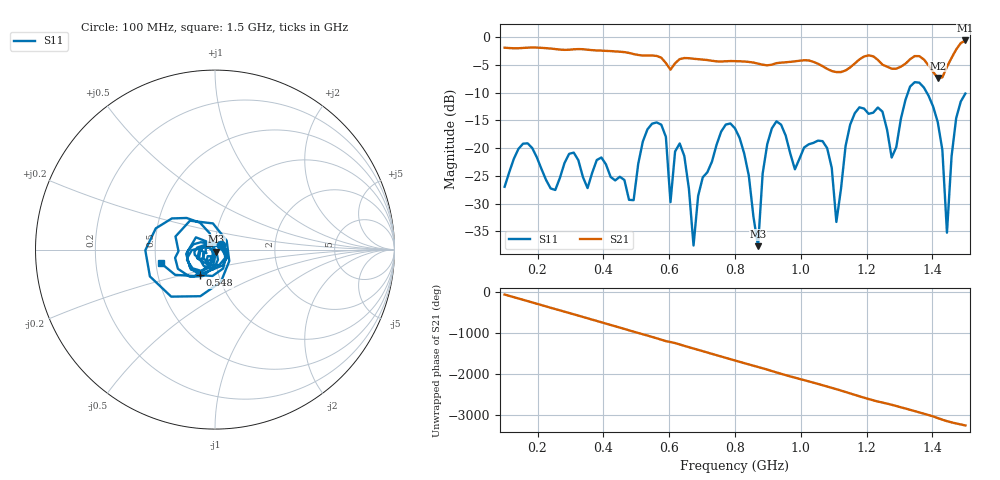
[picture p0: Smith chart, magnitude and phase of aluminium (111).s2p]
! NanoVNA-App
! Date: 2025-09-26 09:58:55
! Start: 100MHz Stop: 1,5GHz Points: 101
! S-Parameter data: F S11 S21 S12 S22
# Hz S RI R 50
!  Frequency  S11_Real  S11_Imag  S21_Real  S21_Imag  S12_Real  S12_Imag  S22_Real  S22_Imag
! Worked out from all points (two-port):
!   101 points, 100 MHz to 1.5 GHz, reference 50 ohm
!   highest |S21| = -0.61 dB at 1.5 GHz (marker M1); lowest = -7.4 dB at 1.416 GHz (marker M2)
!   |S21| within 3 dB of the highest: start of sweep to 571.3 MHz; 1.189 GHz to 1.223 GHz (34.08 MHz wide, 2.83 % of centre)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
!   lowest |S11| = -37.7 dB at 870 MHz (marker M3), VSWR 1.03, Z = 50.8 - j1.08 ohm
!   |S11| at or under -10 dB: start of sweep to 1.326 GHz; 1.383 GHz to end of sweep
!   S12 and S22 are empty: the file has one direction only
!   S11 on the Smith chart (normalised r, x): 100 MHz: 1.07, +0.06; 548 MHz: 0.81, -0.24; 1.5 GHz: 0.53, -0.09
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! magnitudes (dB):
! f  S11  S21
! 100 MHz  -27.0  -1.9
! 338 MHz  -25.2  -2.2
! 492 MHz  -29.4  -3.1
! 548 MHz  -15.6  -3.3
! 576 MHz  -15.8  -3.7
! 604 MHz  -29.7  -5.9
! 646 MHz  -21.4  -3.8
! 674 MHz  -37.6  -3.9
! 702 MHz  -25.3  -4.1
! 800 MHz  -16.5  -4.3
! 870 MHz  -37.7  -4.8
! 912 MHz  -16.4  -5.0
! 1.038 GHz  -19.1  -4.5
! 1.08 GHz  -20.0  -5.7
! 1.108 GHz  -33.3  -6.3
! 1.178 GHz  -12.7  -4.0
! 1.276 GHz  -21.7  -5.7
! 1.346 GHz  -8.1  -3.4
! 1.416 GHz  -15.3  -7.4
! 1.444 GHz  -35.2  -5.4
! 1.472 GHz  -14.6  -2.2
! 1.5 GHz  -10.2  -0.6
